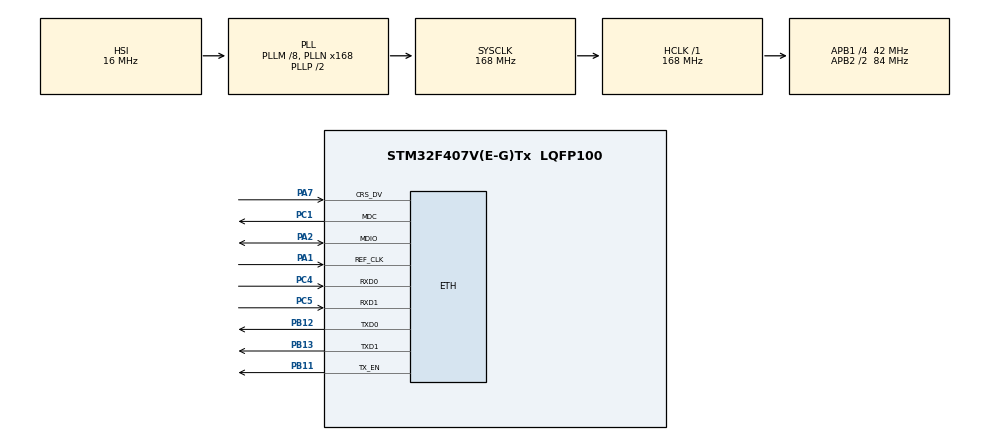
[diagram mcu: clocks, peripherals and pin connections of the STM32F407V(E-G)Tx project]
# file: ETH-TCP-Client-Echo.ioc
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ETH.AutoNegotiation=ETH_AUTONEGOTIATION_DISABLE
ETH.MediaInterface=ETH_MEDIA_INTERFACE_RMII
ETH.PHY_Name_RMII=DP83848_PHY_ADDRESS
LWIP.GATEWAY_ADDRESS=192.168.100.001
LWIP.IP_ADDRESS=192.168.100.200
LWIP.LWIP_DHCP=0
LWIP.MEM_SIZE=10240
LWIP.NETMASK_ADDRESS=255.255.255.000
LWIP.PBUF_POOL_BUFSIZE=1534
LWIP.TCP_MSS=1460
LWIP.Version=v2.1.2_Cube
Mcu.Family=STM32F4
Mcu.Name=STM32F407V(E-G)Tx
Mcu.Package=LQFP100
NVIC.PriorityGroup=NVIC_PRIORITYGROUP_4
PA1.Mode=RMII
PA1.Signal=ETH_REF_CLK
PA2.Mode=RMII
PA2.Signal=ETH_MDIO
PA7.Mode=RMII
PA7.Signal=ETH_CRS_DV
PB11.Mode=RMII
PB11.Signal=ETH_TX_EN
PB12.Mode=RMII
PB12.Signal=ETH_TXD0
PB13.Mode=RMII
PB13.Signal=ETH_TXD1
PC1.Mode=RMII
PC1.Signal=ETH_MDC
PC4.Mode=RMII
PC4.Signal=ETH_RXD0
PC5.Mode=RMII
PC5.Signal=ETH_RXD1
ProjectManager.HeapSize=0x200
ProjectManager.StackSize=0x400
ProjectManager.TargetToolchain=MDK-ARM V5.27
RCC.48MHZClocksFreq_Value=84000000
RCC.AHBFreq_Value=168000000
RCC.APB1CLKDivider=RCC_HCLK_DIV4
RCC.APB1Freq_Value=42000000
RCC.APB1TimFreq_Value=84000000
RCC.APB2CLKDivider=RCC_HCLK_DIV2
RCC.APB2Freq_Value=84000000
RCC.APB2TimFreq_Value=168000000
RCC.CortexFreq_Value=168000000
RCC.HCLKFreq_Value=168000000
RCC.HSE_VALUE=25000000
RCC.HSI_VALUE=16000000
RCC.LSE_VALUE=32768
RCC.PLLM=8
RCC.PLLN=168
RCC.SYSCLKFreq_VALUE=168000000
RCC.SYSCLKSource=RCC_SYSCLKSOURCE_PLLCLK
RCC.VCOOutputFreq_Value=336000000
VP_LWIP_VS_Enabled.Mode=Enabled
board=custom

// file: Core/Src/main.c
/* USER CODE BEGIN Header */
/**
  ******************************************************************************
  * @file           : main.c
  * @brief          : Main program body
  ******************************************************************************
  * @attention
  *
  * <h2><center>&copy; Copyright (c) 2024 STMicroelectronics.
  * All rights reserved.</center></h2>
  *
  * This software component is licensed by ST under Ultimate Liberty license
  * SLA0044, the "License"; You may not use this file except in compliance with
  * the License. You may obtain a copy of the License at:
  *                             www.st.com/SLA0044
  *
  ******************************************************************************
  */
/* USER CODE END Header */
#include "main.h"
#include "lwip.h"
#include "gpio.h"

/* USER CODE BEGIN Includes */
#include "lwip/tcp.h"
#include "lwip/ip.h"
#include "lwip/ip_addr.h"

#include <stdio.h>
/* USER CODE END Includes */

/* USER CODE BEGIN PV */
static const ip_addr_t SERVER_IP = IPADDR4_INIT_BYTES(192, 168, 100, 100);
static const uint16_t  SERVER_PORT = 8585;

static struct tcp_pcb* client;

/* USER CODE END PV */

void SystemClock_Config(void);
/* USER CODE BEGIN PFP */
void Client_init(void);

err_t Client_onConnect(void *arg, struct tcp_pcb *tpcb, err_t err);
err_t Client_onReceive(void *arg, struct tcp_pcb *tpcb,
                             struct pbuf *p, err_t err);
err_t Client_onSent(void *arg, struct tcp_pcb *tpcb,
                              u16_t len);
err_t Client_onPoll(void *arg, struct tcp_pcb *tpcb);
void  Client_onError(void *arg, err_t err);
/* USER CODE END PFP */

int main(void)
{
  /* USER CODE BEGIN 1 */
  uint32_t nextTryConnect = 500;
  /* USER CODE END 1 */

  /* MCU Configuration--------------------------------------------------------*/

  /* Reset of all peripherals, Initializes the Flash interface and the Systick. */
  HAL_Init();

  /* Configure the system clock */
  SystemClock_Config();

  /* Initialize all configured peripherals */
  MX_GPIO_Init();
  MX_LWIP_Init();

  /* Infinite loop */
  /* USER CODE BEGIN WHILE */
  while (1)
  {
    MX_LWIP_Process();
    /* USER CODE END WHILE */

    /* USER CODE BEGIN 3 */
    if (client == NULL && nextTryConnect <= HAL_GetTick()) {
      nextTryConnect = HAL_GetTick() + 1000;
      Client_init();
    }
  }
  /* USER CODE END 3 */
}

void SystemClock_Config(void)
{
  RCC_OscInitTypeDef RCC_OscInitStruct = {0};
  RCC_ClkInitTypeDef RCC_ClkInitStruct = {0};

  /** Configure the main internal regulator output voltage
  */
  __HAL_RCC_PWR_CLK_ENABLE();
  __HAL_PWR_VOLTAGESCALING_CONFIG(PWR_REGULATOR_VOLTAGE_SCALE1);
  /** Initializes the RCC Oscillators according to the specified parameters
  * in the RCC_OscInitTypeDef structure.
  */
  RCC_OscInitStruct.OscillatorType = RCC_OSCILLATORTYPE_HSI;
  RCC_OscInitStruct.HSIState = RCC_HSI_ON;
  RCC_OscInitStruct.HSICalibrationValue = RCC_HSICALIBRATION_DEFAULT;
  RCC_OscInitStruct.PLL.PLLState = RCC_PLL_ON;
  RCC_OscInitStruct.PLL.PLLSource = RCC_PLLSOURCE_HSI;
  RCC_OscInitStruct.PLL.PLLM = 8;
  RCC_OscInitStruct.PLL.PLLN = 168;
  RCC_OscInitStruct.PLL.PLLP = RCC_PLLP_DIV2;
  RCC_OscInitStruct.PLL.PLLQ = 4;
  if (HAL_RCC_OscConfig(&RCC_OscInitStruct) != HAL_OK)
  {
    Error_Handler();
  }
  /** Initializes the CPU, AHB and APB buses clocks
  */
  RCC_ClkInitStruct.ClockType = RCC_CLOCKTYPE_HCLK|RCC_CLOCKTYPE_SYSCLK
                              |RCC_CLOCKTYPE_PCLK1|RCC_CLOCKTYPE_PCLK2;
  RCC_ClkInitStruct.SYSCLKSource = RCC_SYSCLKSOURCE_PLLCLK;
  RCC_ClkInitStruct.AHBCLKDivider = RCC_SYSCLK_DIV1;
  RCC_ClkInitStruct.APB1CLKDivider = RCC_HCLK_DIV4;
  RCC_ClkInitStruct.APB2CLKDivider = RCC_HCLK_DIV2;

  if (HAL_RCC_ClockConfig(&RCC_ClkInitStruct, FLASH_LATENCY_5) != HAL_OK)
  {
    Error_Handler();
  }
}

/* USER CODE BEGIN 4 */
void Client_init(void) {
  client = tcp_new();

  if (client) {
    err_t err = tcp_connect(client, &SERVER_IP, SERVER_PORT, Client_onConnect);

    if (err != ERR_OK) {
      memp_free(MEMP_TCP_PCB, client);
      client = NULL;
    }
  }
}

err_t Client_onConnect(void *arg, struct tcp_pcb *tpcb, err_t err) {
  if (tpcb && err == ERR_OK) {
    // Client Connected
    tcp_recv(tpcb, Client_onReceive);
    tcp_sent(tpcb, Client_onSent);
    tcp_poll(tpcb, Client_onPoll, 10);
    tcp_err(tpcb, Client_onError);
  }

  return ERR_OK;
}

err_t Client_onReceive(void *arg, struct tcp_pcb *tpcb, struct pbuf *p, err_t err) {
  if (tpcb && err == ERR_OK) {
    if (p) {
      // Data Received
      tcp_write(tpcb, p->payload, p->len, TCP_WRITE_FLAG_COPY);
      tcp_output(tpcb);
      pbuf_free(p);
    }
    else {
      // Client Disconnected
      client = NULL;
    }
  }

  return ERR_OK;
}
err_t Client_onSent(void *arg, struct tcp_pcb *tpcb, u16_t len) {

  return ERR_OK;
}
err_t Client_onPoll(void *arg, struct tcp_pcb *tpcb) {
  char buf[64];

  uint32_t len = snprintf(buf, sizeof(buf) - 1, "Timestamp: %u\r\n", HAL_GetTick());

  tcp_write(tpcb, buf, len, TCP_WRITE_FLAG_COPY);

  return ERR_OK;
}
void  Client_onError(void *arg, err_t err) {
  client = NULL;
}
/* USER CODE END 4 */

void Error_Handler(void)
{
  __disable_irq();
  while (1)
  {
  }
}

/************************ (C) COPYRIGHT STMicroelectronics *****END OF FILE****/
